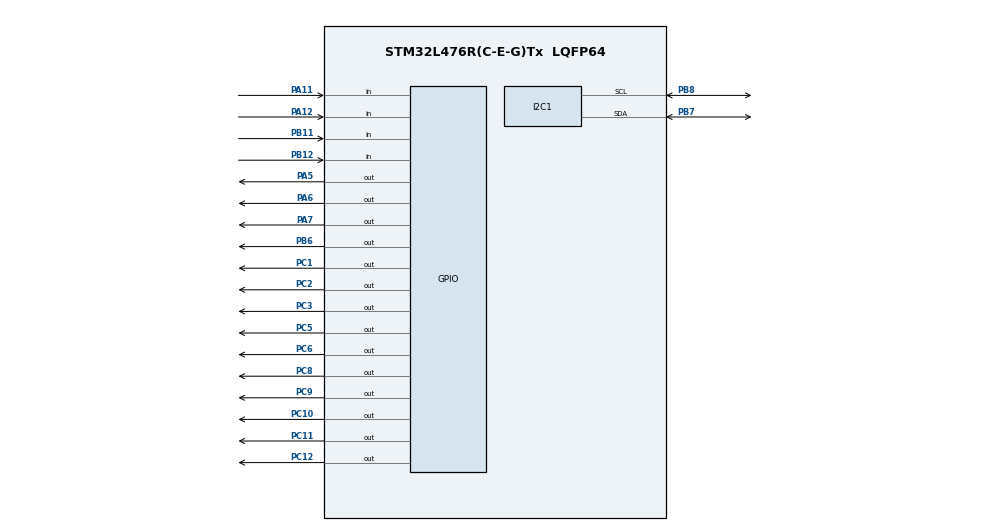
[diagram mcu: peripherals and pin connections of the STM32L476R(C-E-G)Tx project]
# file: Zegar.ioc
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I2C1.Timing=0x00100D14
Mcu.Family=STM32L4
Mcu.Name=STM32L476R(C-E-G)Tx
Mcu.Package=LQFP64
NVIC.PriorityGroup=NVIC_PRIORITYGROUP_4
PA11.GPIO_PuPd=GPIO_PULLUP
PA11.Signal=GPIO_Input
PA12.GPIO_PuPd=GPIO_PULLUP
PA12.Signal=GPIO_Input
PA13\ (JTMS-SWDIO).Mode=Serial_Wire
PA13\ (JTMS-SWDIO).Signal=SYS_JTMS-SWDIO
PA14\ (JTCK-SWCLK).Mode=Serial_Wire
PA14\ (JTCK-SWCLK).Signal=SYS_JTCK-SWCLK
PA5.PinState=GPIO_PIN_SET
PA5.Signal=GPIO_Output
PA6.PinState=GPIO_PIN_SET
PA6.Signal=GPIO_Output
PA7.PinState=GPIO_PIN_SET
PA7.Signal=GPIO_Output
PB11.GPIO_PuPd=GPIO_PULLUP
PB11.Signal=GPIO_Input
PB12.GPIO_PuPd=GPIO_PULLUP
PB12.Signal=GPIO_Input
PB6.PinState=GPIO_PIN_SET
PB6.Signal=GPIO_Output
PB7.Mode=I2C
PB7.Signal=I2C1_SDA
PB8.Mode=I2C
PB8.Signal=I2C1_SCL
PC1.PinState=GPIO_PIN_SET
PC1.Signal=GPIO_Output
PC10.PinState=GPIO_PIN_SET
PC10.Signal=GPIO_Output
PC11.PinState=GPIO_PIN_SET
PC11.Signal=GPIO_Output
PC12.PinState=GPIO_PIN_SET
PC12.Signal=GPIO_Output
PC2.PinState=GPIO_PIN_SET
PC2.Signal=GPIO_Output
PC3.PinState=GPIO_PIN_SET
PC3.Signal=GPIO_Output
PC5.PinState=GPIO_PIN_SET
PC5.Signal=GPIO_Output
PC6.PinState=GPIO_PIN_SET
PC6.Signal=GPIO_Output
PC8.PinState=GPIO_PIN_SET
PC8.Signal=GPIO_Output
PC9.PinState=GPIO_PIN_SET
PC9.Signal=GPIO_Output
ProjectManager.HeapSize=0x200
ProjectManager.StackSize=0x400
ProjectManager.TargetToolchain=STM32CubeIDE
RCC.HSE_VALUE=8000000
RCC.HSI_VALUE=16000000
RCC.LSE_VALUE=32768
RCC.MSI_VALUE=4000000
RCC.VCOOutputFreq_Value=32000000
RTC.Format=RTC_FORMAT_BIN
VP_RTC_VS_RTC_Activate.Mode=RTC_Enabled
VP_RTC_VS_RTC_Calendar.Mode=RTC_Calendar
board=custom

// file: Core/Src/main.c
/* USER CODE BEGIN Header */
/**
  ******************************************************************************
  * @file           : main.c
  * @brief          : Main program body
  ******************************************************************************
  * @attention
  *
  * Copyright (c) 2026 STMicroelectronics.
  * All rights reserved.
  *
  * This software is licensed under terms that can be found in the LICENSE file
  * in the root directory of this software component.
  * If no LICENSE file comes with this software, it is provided AS-IS.
  *
  ******************************************************************************
  */
/* USER CODE END Header */
#include "main.h"

/* USER CODE BEGIN Includes */
#include <stdio.h>    // standardowa biblioteka wejścia/wyjścia używana do formatowania ciągów tekstowych za pomocą funkcji snprintf
/* USER CODE END Includes */

I2C_HandleTypeDef hi2c1;

RTC_HandleTypeDef hrtc;

/* USER CODE BEGIN PV */
RTC_TimeTypeDef sTime = {0}; // struktura HAL przechowywująca atualną godzinę
RTC_DateTypeDef sDate = {0}; // struktura HAL przechowywująca aktualną datę

// zmienne przechowywujące bieżącą: godzinę, minutę oraz sekundę
int godziny = 0;
int minuty  = 0;
int sekundy = 0;

uint8_t stara_minuta = 99; // zmienna przechowywująca starną minutę
char bufor_lcd[32];        // tablica w której sprintf przechowuje foramt przzed wysłaniem

const char* dni_tygodnia[] = {"", "PONIEDZIALEK", "WTOREK", "SRODA", "CZWARTEK", "PIATEK", "SOBOTA", "NIEDZIELA"}; // tablica przechowująca dni tygodnia (pierwsze pole jest puste ze względu na sposób działania rtc gdzie poniedziałek to 1 a niedziela to 7)

// MASZYNA STANÓW I PRZYCISKI
typedef enum {          // definicje stanów zegara
    STAN_NORMALNY,       // zegar w stanie podstawowej pracy
    STAN_WYBORU_POLA,    // zegar w stanie wyboru pola edycji
    STAN_EDYCJI_WARTOSCI // zegar w stanie edytowania wartości
} StanZegara;

typedef enum { // definicje pól możliwych do edycji
    POLE_GODZINY,
    POLE_MINUTY,
    POLE_DZIEN,
    POLE_MIESIAC,
    POLE_ROK
} EdytowanePole;

StanZegara aktualny_stan = STAN_NORMALNY;   // zmienna pzrechowywująca aktualny stan zegara (zegar startuje w stanie zwykłym)
EdytowanePole aktualne_pole = POLE_GODZINY; // zmienna wskazująca na aktualizowane pole

// zmienne tymczasowe do przechowywania ustawień w trakcie edycji
int temp_godziny = 0;
int temp_minuty  = 0;
int temp_dzien   = 0;
int temp_miesiac = 0;
int temp_rok     = 0;

// flagi pomocnicze do wykrywania kliknięć (debouncing) 1=przycisk wciśnięty 0=przycisk zwolniony
uint8_t p1_wcisniety = 0;
uint8_t p2_wcisniety = 0;
uint8_t p3_wcisniety = 0;
uint8_t p4_wcisniety = 0;
/* USER CODE END PV */

void SystemClock_Config(void);
static void MX_GPIO_Init(void);
static void MX_I2C1_Init(void);
static void MX_RTC_Init(void);

/* USER CODE BEGIN 0 */

// FUNKCJE WYSWIETLACZA CYFR
void LED_Wyswietl_0(void) {
    HAL_GPIO_WritePin(GPIOC, GPIO_PIN_5 | GPIO_PIN_6 | GPIO_PIN_8 | GPIO_PIN_9, GPIO_PIN_RESET); // zaświecenie segmentów A, B, C, D
    HAL_GPIO_WritePin(GPIOA, GPIO_PIN_5 | GPIO_PIN_6, GPIO_PIN_RESET);                          // zaświecenie segmentów E, F
    HAL_GPIO_WritePin(GPIOA, GPIO_PIN_7, GPIO_PIN_SET);                                         // zgaszenie segmentu G
}

void LED_Wyswietl_1(void) {
    HAL_GPIO_WritePin(GPIOC, GPIO_PIN_5 | GPIO_PIN_9, GPIO_PIN_SET);             // zgaszenie segmentów A, D
    HAL_GPIO_WritePin(GPIOC, GPIO_PIN_6 | GPIO_PIN_8, GPIO_PIN_RESET);           // zaświecenie segmentów B, C
    HAL_GPIO_WritePin(GPIOA, GPIO_PIN_5 | GPIO_PIN_6 | GPIO_PIN_7, GPIO_PIN_SET); // zgaszenie segmentów E, F, G
}

void LED_Wyswietl_2(void) {
    HAL_GPIO_WritePin(GPIOC, GPIO_PIN_5 | GPIO_PIN_6 | GPIO_PIN_9, GPIO_PIN_RESET); // zaświecenie segmentów A, B, D
    HAL_GPIO_WritePin(GPIOC, GPIO_PIN_8, GPIO_PIN_SET);                             // zgaszenie segmentu C
    HAL_GPIO_WritePin(GPIOA, GPIO_PIN_5 | GPIO_PIN_7, GPIO_PIN_RESET);             // zaświecenie segmentów E, G
    HAL_GPIO_WritePin(GPIOA, GPIO_PIN_6, GPIO_PIN_SET);                             // zgaszenie segmentów F
}

void LED_Wyswietl_3(void) {
    HAL_GPIO_WritePin(GPIOC, GPIO_PIN_5 | GPIO_PIN_6 | GPIO_PIN_8 | GPIO_PIN_9, GPIO_PIN_RESET); // zaświecenie segmentów A, B, C, D
    HAL_GPIO_WritePin(GPIOA, GPIO_PIN_5 | GPIO_PIN_6, GPIO_PIN_SET);                             // zgaszenie segmentów E, F
    HAL_GPIO_WritePin(GPIOA, GPIO_PIN_7, GPIO_PIN_RESET);                                        // zaświecenie segmentu G
}

void LED_Wyswietl_4(void) {
    HAL_GPIO_WritePin(GPIOC, GPIO_PIN_5 | GPIO_PIN_9, GPIO_PIN_SET);             // zgaszenie segmentow A, D
    HAL_GPIO_WritePin(GPIOC, GPIO_PIN_6 | GPIO_PIN_8, GPIO_PIN_RESET);           // zaświecenie segmentów B, C
    HAL_GPIO_WritePin(GPIOA, GPIO_PIN_5, GPIO_PIN_SET);                         // zgaszenie segmentu E
    HAL_GPIO_WritePin(GPIOA, GPIO_PIN_6 | GPIO_PIN_7, GPIO_PIN_RESET);           // zaświecenie segmentów F, G
}

void LED_Wyswietl_5(void) {
    HAL_GPIO_WritePin(GPIOC, GPIO_PIN_5 | GPIO_PIN_8 | GPIO_PIN_9, GPIO_PIN_RESET); // zaświecenie segmentów A, C, D
    HAL_GPIO_WritePin(GPIOC, GPIO_PIN_6, GPIO_PIN_SET);                             // zgaszenie segmentu B
    HAL_GPIO_WritePin(GPIOA, GPIO_PIN_5, GPIO_PIN_SET);                             // zgaszenie segmentu E
    HAL_GPIO_WritePin(GPIOA, GPIO_PIN_6 | GPIO_PIN_7, GPIO_PIN_RESET);             // zaświecenie segmentów F, G
}

void LED_Wyswietl_6(void) {
    HAL_GPIO_WritePin(GPIOC, GPIO_PIN_5 | GPIO_PIN_8 | GPIO_PIN_9, GPIO_PIN_RESET); // zaświecenie segmentów A, C, D
    HAL_GPIO_WritePin(GPIOC, GPIO_PIN_6, GPIO_PIN_SET);                             // zgaszenie segmentu B
    HAL_GPIO_WritePin(GPIOA, GPIO_PIN_5 | GPIO_PIN_6 | GPIO_PIN_7, GPIO_PIN_RESET); // zaświecenie segmentów E, F, G
}

void LED_Wyswietl_7(void) {
    HAL_GPIO_WritePin(GPIOC, GPIO_PIN_5 | GPIO_PIN_6 | GPIO_PIN_8, GPIO_PIN_RESET); // zaświecenie segmentów A, B, C
    HAL_GPIO_WritePin(GPIOC, GPIO_PIN_9, GPIO_PIN_SET);                             // zgaszenie segmentu D
    HAL_GPIO_WritePin(GPIOA, GPIO_PIN_5 | GPIO_PIN_6 | GPIO_PIN_7, GPIO_PIN_SET); // zgaszenie segmentów E, F, G
}

void LED_Wyswietl_8(void) {
    HAL_GPIO_WritePin(GPIOC, GPIO_PIN_5 | GPIO_PIN_6 | GPIO_PIN_8 | GPIO_PIN_9, GPIO_PIN_RESET); // zaświecenie segmentów A, B, C, D
    HAL_GPIO_WritePin(GPIOA, GPIO_PIN_5 | GPIO_PIN_6 | GPIO_PIN_7, GPIO_PIN_RESET);             // zaświecenie segmentów E, F, G
}

void LED_Wyswietl_9(void) {
    HAL_GPIO_WritePin(GPIOC, GPIO_PIN_5 | GPIO_PIN_6 | GPIO_PIN_8 | GPIO_PIN_9, GPIO_PIN_RESET); // zaświecenie segmentów A, B, C, D
    HAL_GPIO_WritePin(GPIOA, GPIO_PIN_5, GPIO_PIN_SET);                                         // zgaszenie segmentu E
    HAL_GPIO_WritePin(GPIOA, GPIO_PIN_6 | GPIO_PIN_7, GPIO_PIN_RESET);                          // zaświecenie segmentów F, G
}

void LED_Wyswietl_Cyfre(int cyfra) { // funkcja switch do wyboru odpowiednij cyfry do wyświetlenia
    switch(cyfra) {
        case 0: LED_Wyswietl_0(); break;
        case 1: LED_Wyswietl_1(); break;
        case 2: LED_Wyswietl_2(); break;
        case 3: LED_Wyswietl_3(); break;
        case 4: LED_Wyswietl_4(); break;
        case 5: LED_Wyswietl_5(); break;
        case 6: LED_Wyswietl_6(); break;
        case 7: LED_Wyswietl_7(); break;
        case 8: LED_Wyswietl_8(); break;
        case 9: LED_Wyswietl_9(); break;
        default: break;
    }
}

// FUNKCJE OBSŁUGI WYŚWIETLACZA LCD
#define GROVE_LCD_ADDR (0x3E << 1) // definicja adresu sprzętowego LCD z przesunięciem o 1 bit

void grove_lcd_cmd(uint8_t cmd) { // wysłyłanie bajtu komendy startu do LCD
    uint8_t temp[2] = {0x80, cmd};
    HAL_I2C_Master_Transmit(&hi2c1, GROVE_LCD_ADDR, temp, 2, 100);
    HAL_Delay(1);
}

void grove_lcd_data(uint8_t data) { // wysłanie bajtu pojedynczego znaku tekstu do LCD
    uint8_t temp[2] = {0x40, data};
    HAL_I2C_Master_Transmit(&hi2c1, GROVE_LCD_ADDR, temp, 2, 100);
}

void grove_lcd_init(void) { // procedura inicjalizacjia LCD
    HAL_Delay(50);
    grove_lcd_cmd(0x38); // tryb 2 linii, czcionka 5x8
    HAL_Delay(5);
    grove_lcd_cmd(0x0C); // włącz wyświetlacz, ukryj kursor
    HAL_Delay(1);
    grove_lcd_cmd(0x01); // wyczyść ekran
    HAL_Delay(5);
    grove_lcd_cmd(0x06); // przesunięcie kursora w prawo
}

void grove_lcd_send_string(char *str) { // wysłanie całego ciągu tekstowego do LCD
    while (*str) {
        grove_lcd_data((uint8_t)*str++);
    }
}

void grove_lcd_put_cur(int row, int col) { // ustawienie kursora na zadany znak w LCD
    uint8_t val = (row == 0) ? (0x80 + col) : (0xC0 + col);
    grove_lcd_cmd(val);
}

uint8_t Oblicz_Dzien_Tygodnia(uint8_t d, uint8_t m, uint16_t y) { // algorytm Zallera do automatycznego wyznaczenia dnia tygodnia
    uint16_t pelny_rok = 2000 + y;
    static const uint8_t t[] = {0, 3, 2, 5, 0, 3, 5, 1, 4, 6, 2, 4};
    if (m < 3) {
        pelny_rok -= 1;
    }
    uint8_t wynik = (pelny_rok + pelny_rok/4 - pelny_rok/100 + pelny_rok/400 + t[m-1] + d) % 7;
    return (wynik == 0) ? 7 : wynik; // konwersja wyniku dla niedzieli z 0 na 7
}
/* USER CODE END 0 */

int main(void)
{

  /* MCU Configuration--------------------------------------------------------*/

  /* Reset of all peripherals, Initializes the Flash interface and the Systick. */
  HAL_Init();

  /* Configure the system clock */
  SystemClock_Config();

  /* Initialize all configured peripherals */
  MX_GPIO_Init();
  MX_I2C1_Init();
  MX_RTC_Init();
  /* USER CODE BEGIN 2 */
  HAL_Delay(100);    // opóźnienie po starcie
  grove_lcd_init();  // konfiguracja modułu wyświetlacza LCD

  // RESTART I WYMUSZENIE ZASILANIA DOMENY BACKUP
  __HAL_RCC_PWR_CLK_ENABLE(); // włączenie zegara kontrolera zasilania
  HAL_PWR_EnableBkUpAccess(); // odblokowanie dostępu do RTC i rejestrów backupu

  // Konfiguracja startowa zegara po resecie zasilania (00:00:00)
  sTime.Hours = 0;
  sTime.Minutes = 0;
  sTime.Seconds = 0;
  sTime.DayLightSaving = RTC_DAYLIGHTSAVING_NONE;  // automatyczna zmiana czasu letni/zimowy
  sTime.StoreOperation = RTC_STOREOPERATION_RESET; // reset operacji zapisu stanu

  if (HAL_RTC_SetTime(&hrtc, &sTime, RTC_FORMAT_BIN) != HAL_OK) { // sprzętowy zapis czasu do rejestrów RTC
      grove_lcd_put_cur(0, 0);
      grove_lcd_send_string("ERR: TIME WRITE");
      while(1);
  }

  // konfiguracja startu daty poniedziałek 1 stycznia 2000
  sDate.WeekDay = RTC_WEEKDAY_MONDAY;
  sDate.Date = 1;
  sDate.Month = RTC_MONTH_JANUARY;
  sDate.Year = 0;

  if (HAL_RTC_SetDate(&hrtc, &sDate, RTC_FORMAT_BIN) != HAL_OK) { // sprzętowy zapis daty do rejestrów RTC
      grove_lcd_put_cur(0, 0);
      grove_lcd_send_string("ERR: DATE WRITE");
      while(1);
  }
  /* USER CODE END 2 */

  /* Infinite loop */
  /* USER CODE BEGIN WHILE */
  while (1)
  {
	    // POBRANIE CZASU Z RTC
	    if (aktualny_stan == STAN_NORMALNY) { // odczyt tylko w stanie normalnym
	        // pobranie aktualnych wartości z RTC
	        HAL_RTC_GetTime(&hrtc, &sTime, RTC_FORMAT_BIN);
	        HAL_RTC_GetDate(&hrtc, &sDate, RTC_FORMAT_BIN);
	        // zapisanie pobranych wartości do zmiennych
	        godziny = sTime.Hours;
	        minuty  = sTime.Minutes;
	        sekundy = sTime.Seconds;
	    }

	    // NIEBLOKUJĄCA OBSŁUGA PRZYCISKÓW
	    // Przycisk 1 - MENU (Wejście / Ostateczne Wyjście i akceptacja zmian)
	    if (HAL_GPIO_ReadPin(GPIOB, GPIO_PIN_11) == GPIO_PIN_RESET && !p1_wcisniety) { // wykrycie wciśnięcia przycisku 1
	        HAL_Delay(10);
	        if (HAL_GPIO_ReadPin(GPIOB, GPIO_PIN_11) == GPIO_PIN_RESET) {
	            p1_wcisniety = 1; // flaga blokady przycisku
	            if (aktualny_stan == STAN_NORMALNY) { // wejście do menu głównego zegara
	                temp_godziny = godziny;
	                temp_minuty = minuty;
	                temp_dzien = sDate.Date;
	                temp_miesiac = sDate.Month;
	                temp_rok = sDate.Year;
	                aktualny_stan = STAN_WYBORU_POLA; // przełączenie w stan wyboru pozycji
	                aktualne_pole = POLE_GODZINY;     // ustawienie pierwszego pola na godziny
	            } else {
	                // OSTATECZNE WYJŚCIE Z MENU PO ZAKOŃCZENIU EDYCJI CAŁOŚCI
	                // czyszczenie linii LCD
	                grove_lcd_put_cur(0, 0);
	                grove_lcd_send_string("                ");
	                grove_lcd_put_cur(1, 0);
	                grove_lcd_send_string("                ");

	                aktualny_stan = STAN_NORMALNY; // powrót do stanu nromalnego
	                stara_minuta = 99;             // wymuszenie pełnego odświeżenia grafiki głównej
	            }
	        }
	    } else if (HAL_GPIO_ReadPin(GPIOB, GPIO_PIN_11) == GPIO_PIN_SET) {
	        p1_wcisniety = 0; // zerowanie flagi po zwolneniu przycisku
	    }

	    // Przycisk 2 W TYŁ / MINUS (-)
	    if (HAL_GPIO_ReadPin(GPIOA, GPIO_PIN_11) == GPIO_PIN_RESET && !p3_wcisniety) { // wykrycie wciśnięcia przycisku 2
	        HAL_Delay(10);
	        if (HAL_GPIO_ReadPin(GPIOA, GPIO_PIN_11) == GPIO_PIN_RESET) {
	            p3_wcisniety = 1;

	            if (aktualny_stan == STAN_WYBORU_POLA) { // nawigacja po menu w tył
	                if (aktualne_pole > POLE_GODZINY) aktualne_pole--;
	            }
	            else if (aktualny_stan == STAN_EDYCJI_WARTOSCI) { // dekrementacja wartości
	                if (aktualne_pole == POLE_GODZINY && temp_godziny > 0) temp_godziny--;
	                if (aktualne_pole == POLE_MINUTY  && temp_minuty > 0)  temp_minuty--;
	                if (aktualne_pole == POLE_DZIEN   && temp_dzien > 1)   temp_dzien--;
	                if (aktualne_pole == POLE_MIESIAC && temp_miesiac > 1) temp_miesiac--;
	                if (aktualne_pole == POLE_ROK     && temp_rok > 0)     temp_rok--;
	            }
	        }
	    } else if (HAL_GPIO_ReadPin(GPIOA, GPIO_PIN_11) == GPIO_PIN_SET) {
	        p3_wcisniety = 0;
	    }

	    // Przycisk 3 W PRZÓD / PLUS (+)
	    if (HAL_GPIO_ReadPin(GPIOB, GPIO_PIN_12) == GPIO_PIN_RESET && !p2_wcisniety) { // wykrycie wciśnięcia przycisku 3
	        HAL_Delay(10);
	        if (HAL_GPIO_ReadPin(GPIOB, GPIO_PIN_12) == GPIO_PIN_RESET) {
	            p2_wcisniety = 1;

	            if (aktualny_stan == STAN_WYBORU_POLA) { // nawigacja po menu w przód
	                if (aktualne_pole < POLE_ROK) aktualne_pole++;
	            }
	            else if (aktualny_stan == STAN_EDYCJI_WARTOSCI) { // inkrementacja wartości
	                if (aktualne_pole == POLE_GODZINY && temp_godziny < 23) temp_godziny++;
	                if (aktualne_pole == POLE_MINUTY  && temp_minuty < 59)  temp_minuty++;
	                if (aktualne_pole == POLE_DZIEN   && temp_dzien < 31)   temp_dzien++;
	                if (aktualne_pole == POLE_MIESIAC && temp_miesiac < 12) temp_miesiac++;
	                if (aktualne_pole == POLE_ROK     && temp_rok < 99)     temp_rok++;
	            }
	        }
	    } else if (HAL_GPIO_ReadPin(GPIOB, GPIO_PIN_12) == GPIO_PIN_SET) {
	        p2_wcisniety = 0;
	    }

	    // PRZYCISK 4 (ENTER) - ZATWIERDZENIE I ZAPIS
	    if (HAL_GPIO_ReadPin(GPIOA, GPIO_PIN_12) == GPIO_PIN_RESET && !p4_wcisniety) { // wykrycie wciśnięcia przycisku 4
	        HAL_Delay(20);
	        if (HAL_GPIO_ReadPin(GPIOA, GPIO_PIN_12) == GPIO_PIN_RESET) {
	            p4_wcisniety = 1;

	            if (aktualny_stan == STAN_WYBORU_POLA) { // przejście do wyboru pozycji
	                aktualny_stan = STAN_EDYCJI_WARTOSCI;
	            }
	            else if (aktualny_stan == STAN_EDYCJI_WARTOSCI) { // zatwierdzenie i zapis wartości do rejestrów RTC

	                // Przepisanie wprowadzonych modyfikacji do struktur HAL
	                sTime.Hours = temp_godziny;
	                sTime.Minutes = temp_minuty;
	                sTime.Seconds = 0; // zerowanie sekund przy zatwierdzeniu dowolnego elementu
	                sTime.SubSeconds = 0;
	                sTime.SecondFraction = 0;
	                sTime.DayLightSaving = RTC_DAYLIGHTSAVING_NONE;
	                sTime.StoreOperation = RTC_STOREOPERATION_RESET;

	                sDate.Date = temp_dzien;
	                sDate.Month = temp_miesiac;
	                sDate.Year = temp_rok;
	                sDate.WeekDay = Oblicz_Dzien_Tygodnia(temp_dzien, temp_miesiac, temp_rok); // automatyczne wyliczenie dnia tygodnia

	                // Fizyczny zapis do rejestrów RTC
	                HAL_PWR_EnableBkUpAccess();               // odblokowanie dostępu do zasialania backup
	                __HAL_RTC_WRITEPROTECTION_DISABLE(&hrtc); // wyłączenie ochory zapisu
	                // wpisanie nowej godziny i daty
	                HAL_RTC_SetTime(&hrtc, &sTime, RTC_FORMAT_BIN);
	                HAL_RTC_SetDate(&hrtc, &sDate, RTC_FORMAT_BIN);
	                __HAL_RTC_WRITEPROTECTION_ENABLE(&hrtc);  // włączenie ochory zapisu

	                // aktualizacja zmiennych roboczych
	                godziny = temp_godziny;
	                minuty = temp_minuty;
	                sekundy = 0;

	                // blokada pętli na czas fizycznego trzymania przycisku ENTER
	                while(HAL_GPIO_ReadPin(GPIOA, GPIO_PIN_12) == GPIO_PIN_RESET) {
	                    HAL_Delay(5);
	                }

	                aktualny_stan = STAN_WYBORU_POLA; // powrót do menu
	            }
	            stara_minuta = 99; // wymuszenie odświeżenia ekranu
	        }
	    } else if (HAL_GPIO_ReadPin(GPIOA, GPIO_PIN_12) == GPIO_PIN_SET) {
	        p4_wcisniety = 0;
	    }

	    // AKTUALIZACJA WYŚWIETLACZA GROVE LCD
	    if (aktualny_stan == STAN_NORMALNY) { // wyświetlenie ekranu głównego: dzień tygodnia i data
	        if (minuty != stara_minuta) {     // odświeżanie ekranu co minutę
	            stara_minuta = minuty;
	            grove_lcd_put_cur(0, 0);
	            grove_lcd_send_string("                ");
	            grove_lcd_put_cur(0, 0);
	            grove_lcd_send_string((char*)dni_tygodnia[sDate.WeekDay]); // wypisanie dnia tygodnia

	            grove_lcd_put_cur(1, 0);
	            snprintf(bufor_lcd, sizeof(bufor_lcd), "%02d | %02d | 20%02d", sDate.Date, sDate.Month, sDate.Year); // wypisanie daty
	            grove_lcd_send_string(bufor_lcd);
	        }
	    } else { // wyświetlenie ekranu interfejsu MENU
	        grove_lcd_put_cur(0, 0);
	        if (aktualny_stan == STAN_WYBORU_POLA) {
	            grove_lcd_send_string("WYBIERZ POLE:   ");
	        } else {
	            grove_lcd_send_string("EDYCJA WARTOSCI:");
	        }

	        grove_lcd_put_cur(1, 0);
	        snprintf(bufor_lcd, sizeof(bufor_lcd), "%02d:%02d  %02d|%02d|0%02d", temp_godziny, temp_minuty, temp_dzien, temp_miesiac, temp_rok); // format podglądu zmian
	        grove_lcd_send_string(bufor_lcd);
	    }

	    // MULTIPLEKSOWANIE WYŚWIETLACZY LED
	    // logika wyznaczania, które sekcje wyświetlacza mają świecić w danym stanie
	    uint8_t swiec_godziny = (aktualny_stan == STAN_NORMALNY) || (aktualny_stan == STAN_WYBORU_POLA && aktualne_pole == POLE_GODZINY) || (aktualny_stan == STAN_EDYCJI_WARTOSCI && aktualne_pole == POLE_GODZINY);
	    uint8_t swiec_minuty  = (aktualny_stan == STAN_NORMALNY) || (aktualny_stan == STAN_WYBORU_POLA && aktualne_pole == POLE_MINUTY)  || (aktualny_stan == STAN_EDYCJI_WARTOSCI && aktualne_pole == POLE_MINUTY);

	    uint8_t swiec_dzien   = (aktualny_stan == STAN_WYBORU_POLA && aktualne_pole == POLE_DZIEN)   || (aktualny_stan == STAN_EDYCJI_WARTOSCI && aktualne_pole == POLE_DZIEN);
	    uint8_t swiec_miesiac = (aktualny_stan == STAN_WYBORU_POLA && aktualne_pole == POLE_MIESIAC) || (aktualny_stan == STAN_EDYCJI_WARTOSCI && aktualne_pole == POLE_MIESIAC);
	    uint8_t swiec_rok     = (aktualny_stan == STAN_WYBORU_POLA && aktualne_pole == POLE_ROK)     || (aktualny_stan == STAN_EDYCJI_WARTOSCI && aktualne_pole == POLE_ROK);

	    // Pozycja 1: Dziesiątki Godzin / Dziesiątki Dnia
	    HAL_GPIO_WritePin(GPIOC, GPIO_PIN_3, GPIO_PIN_SET);    // zgaszenie poprzedniej pozycji
	    HAL_GPIO_WritePin(GPIOB, GPIO_PIN_6, GPIO_PIN_SET);    // zgaszenie kropki
	    if (aktualny_stan == STAN_NORMALNY && swiec_godziny) {
	        LED_Wyswietl_Cyfre(godziny / 10);
	        HAL_GPIO_WritePin(GPIOC, GPIO_PIN_10, GPIO_PIN_RESET);
	    } else if (aktualny_stan != STAN_NORMALNY && (swiec_godziny || swiec_dzien)) {
	        // w menu na pozycjach godzin wyświetlamy albo godziny, albo dzień
	        LED_Wyswietl_Cyfre((aktualne_pole == POLE_GODZINY) ? (temp_godziny / 10) : (temp_dzien / 10));
	        HAL_GPIO_WritePin(GPIOC, GPIO_PIN_10, GPIO_PIN_RESET);
	    }
	    HAL_Delay(2);

	    // Pozycja 2: Jedności Godzin / Jedności Dnia
	    HAL_GPIO_WritePin(GPIOC, GPIO_PIN_10, GPIO_PIN_SET);   // zgaszenie pozycji 1
	    if (aktualny_stan == STAN_NORMALNY) HAL_GPIO_WritePin(GPIOB, GPIO_PIN_6, GPIO_PIN_RESET); // kropka tylko w trybie zegara
	    if (aktualny_stan == STAN_NORMALNY && swiec_godziny) {
	        LED_Wyswietl_Cyfre(godziny % 10);
	        HAL_GPIO_WritePin(GPIOC, GPIO_PIN_11, GPIO_PIN_RESET);
	    } else if (aktualny_stan != STAN_NORMALNY && (swiec_godziny || swiec_dzien)) {
	        LED_Wyswietl_Cyfre((aktualne_pole == POLE_GODZINY) ? (temp_godziny % 10) : (temp_dzien % 10));
	        HAL_GPIO_WritePin(GPIOC, GPIO_PIN_11, GPIO_PIN_RESET);
	    }
	    HAL_Delay(2);

	    // Pozycja 3: Dziesiątki Minut / Dziesiątki Miesiąca
	    HAL_GPIO_WritePin(GPIOC, GPIO_PIN_11, GPIO_PIN_SET);   // zgaszenie pozycji 2
	    HAL_GPIO_WritePin(GPIOB, GPIO_PIN_6, GPIO_PIN_SET);    // zgaszenie kropki
	    if (aktualny_stan == STAN_NORMALNY && swiec_minuty) {
	        LED_Wyswietl_Cyfre(minuty / 10);
	        HAL_GPIO_WritePin(GPIOC, GPIO_PIN_12, GPIO_PIN_RESET);
	    } else if (aktualny_stan != STAN_NORMALNY && (swiec_minuty || swiec_miesiac)) {
	        LED_Wyswietl_Cyfre((aktualne_pole == POLE_MINUTY) ? (temp_minuty / 10) : (temp_miesiac / 10));
	        HAL_GPIO_WritePin(GPIOC, GPIO_PIN_12, GPIO_PIN_RESET);
	    }
	    HAL_Delay(2);

	    // Pozycja 4: Jedności Minut / Jedności Miesiąca
	    HAL_GPIO_WritePin(GPIOC, GPIO_PIN_12, GPIO_PIN_SET);   // zgaszenie pozycji 3
	    if (aktualny_stan == STAN_NORMALNY) HAL_GPIO_WritePin(GPIOB, GPIO_PIN_6, GPIO_PIN_RESET); // kropka tylko w trybie zegara
	    if (aktualny_stan == STAN_NORMALNY && swiec_minuty) {
	        LED_Wyswietl_Cyfre(minuty % 10);
	        HAL_GPIO_WritePin(GPIOC, GPIO_PIN_1, GPIO_PIN_RESET);
	    } else if (aktualny_stan != STAN_NORMALNY && (swiec_minuty || swiec_miesiac)) {
	        LED_Wyswietl_Cyfre((aktualne_pole == POLE_MINUTY) ? (temp_minuty % 10) : (temp_miesiac % 10));
	        HAL_GPIO_WritePin(GPIOC, GPIO_PIN_1, GPIO_PIN_RESET);
	    }
	    HAL_Delay(2);

	    // Pozycja 5: Dziesiątki Sekund / Dziesiątki Roku
	    HAL_GPIO_WritePin(GPIOC, GPIO_PIN_1, GPIO_PIN_SET);    // zgaszenie pozycji 4
	    HAL_GPIO_WritePin(GPIOB, GPIO_PIN_6, GPIO_PIN_SET);    // zgaszenie kropki
	    if (aktualny_stan == STAN_NORMALNY) {
	        LED_Wyswietl_Cyfre(sekundy / 10);
	        HAL_GPIO_WritePin(GPIOC, GPIO_PIN_2, GPIO_PIN_RESET);
	    } else if (aktualny_stan != STAN_NORMALNY && swiec_rok) {
	        LED_Wyswietl_Cyfre(temp_rok / 10);
	        HAL_GPIO_WritePin(GPIOC, GPIO_PIN_2, GPIO_PIN_RESET);
	    }
	    HAL_Delay(2);

	    // Pozycja 6: Jedności Sekund / Jedności Roku
	    HAL_GPIO_WritePin(GPIOC, GPIO_PIN_2, GPIO_PIN_SET);    // zgaszenie pozycji 5
	    if (aktualny_stan == STAN_NORMALNY) {
	        LED_Wyswietl_Cyfre(sekundy % 10);
	        HAL_GPIO_WritePin(GPIOC, GPIO_PIN_3, GPIO_PIN_RESET);
	    } else if (aktualny_stan != STAN_NORMALNY && swiec_rok) {
	        LED_Wyswietl_Cyfre(temp_rok % 10);
	        HAL_GPIO_WritePin(GPIOC, GPIO_PIN_3, GPIO_PIN_RESET);
	    }
	    HAL_Delay(2);
    /* USER CODE END WHILE */

  }
}

void SystemClock_Config(void)
{
  RCC_OscInitTypeDef RCC_OscInitStruct = {0};
  RCC_ClkInitTypeDef RCC_ClkInitStruct = {0};

  /** Configure the main internal regulator output voltage
  */
  if (HAL_PWREx_ControlVoltageScaling(PWR_REGULATOR_VOLTAGE_SCALE1) != HAL_OK)
  {
    Error_Handler();
  }

  /** Initializes the RCC Oscillators according to the specified parameters
  * in the RCC_OscInitTypeDef structure.
  */
  RCC_OscInitStruct.OscillatorType = RCC_OSCILLATORTYPE_LSI|RCC_OSCILLATORTYPE_MSI;
  RCC_OscInitStruct.LSIState = RCC_LSI_ON;
  RCC_OscInitStruct.MSIState = RCC_MSI_ON;
  RCC_OscInitStruct.MSICalibrationValue = 0;
  RCC_OscInitStruct.MSIClockRange = RCC_MSIRANGE_6;
  RCC_OscInitStruct.PLL.PLLState = RCC_PLL_NONE;
  if (HAL_RCC_OscConfig(&RCC_OscInitStruct) != HAL_OK)
  {
    Error_Handler();
  }

  /** Initializes the CPU, AHB and APB buses clocks
  */
  RCC_ClkInitStruct.ClockType = RCC_CLOCKTYPE_HCLK|RCC_CLOCKTYPE_SYSCLK
                              |RCC_CLOCKTYPE_PCLK1|RCC_CLOCKTYPE_PCLK2;
  RCC_ClkInitStruct.SYSCLKSource = RCC_SYSCLKSOURCE_MSI;
  RCC_ClkInitStruct.AHBCLKDivider = RCC_SYSCLK_DIV1;
  RCC_ClkInitStruct.APB1CLKDivider = RCC_HCLK_DIV1;
  RCC_ClkInitStruct.APB2CLKDivider = RCC_HCLK_DIV1;

  if (HAL_RCC_ClockConfig(&RCC_ClkInitStruct, FLASH_LATENCY_0) != HAL_OK)
  {
    Error_Handler();
  }
}

static void MX_I2C1_Init(void)
{

  hi2c1.Instance = I2C1;
  hi2c1.Init.Timing = 0x00100D14;
  hi2c1.Init.OwnAddress1 = 0;
  hi2c1.Init.AddressingMode = I2C_ADDRESSINGMODE_7BIT;
  hi2c1.Init.DualAddressMode = I2C_DUALADDRESS_DISABLE;
  hi2c1.Init.OwnAddress2 = 0;
  hi2c1.Init.OwnAddress2Masks = I2C_OA2_NOMASK;
  hi2c1.Init.GeneralCallMode = I2C_GENERALCALL_DISABLE;
  hi2c1.Init.NoStretchMode = I2C_NOSTRETCH_DISABLE;
  if (HAL_I2C_Init(&hi2c1) != HAL_OK)
  {
    Error_Handler();
  }

  /** Configure Analogue filter
  */
  if (HAL_I2CEx_ConfigAnalogFilter(&hi2c1, I2C_ANALOGFILTER_ENABLE) != HAL_OK)
  {
    Error_Handler();
  }

  /** Configure Digital filter
  */
  if (HAL_I2CEx_ConfigDigitalFilter(&hi2c1, 0) != HAL_OK)
  {
    Error_Handler();
  }

}

static void MX_RTC_Init(void)
{

  RTC_TimeTypeDef sTime = {0};
  RTC_DateTypeDef sDate = {0};

  /** Initialize RTC Only
  */
  hrtc.Instance = RTC;
  hrtc.Init.HourFormat = RTC_HOURFORMAT_24;
  hrtc.Init.AsynchPrediv = 127;
  hrtc.Init.SynchPrediv = 255;
  hrtc.Init.OutPut = RTC_OUTPUT_DISABLE;
  hrtc.Init.OutPutRemap = RTC_OUTPUT_REMAP_NONE;
  hrtc.Init.OutPutPolarity = RTC_OUTPUT_POLARITY_HIGH;
  hrtc.Init.OutPutType = RTC_OUTPUT_TYPE_OPENDRAIN;
  if (HAL_RTC_Init(&hrtc) != HAL_OK)
  {
    Error_Handler();
  }

  /** Initialize RTC and set the Time and Date
  */
  sTime.Hours = 0;
  sTime.Minutes = 0;
  sTime.Seconds = 0;
  sTime.DayLightSaving = RTC_DAYLIGHTSAVING_NONE;
  sTime.StoreOperation = RTC_STOREOPERATION_RESET;
  if (HAL_RTC_SetTime(&hrtc, &sTime, RTC_FORMAT_BIN) != HAL_OK)
  {
    Error_Handler();
  }
  sDate.WeekDay = RTC_WEEKDAY_MONDAY;
  sDate.Month = RTC_MONTH_JANUARY;
  sDate.Date = 1;
  sDate.Year = 0;

  if (HAL_RTC_SetDate(&hrtc, &sDate, RTC_FORMAT_BIN) != HAL_OK)
  {
    Error_Handler();
  }

}

static void MX_GPIO_Init(void)
{
  GPIO_InitTypeDef GPIO_InitStruct = {0};

  /* GPIO Ports Clock Enable */
  __HAL_RCC_GPIOC_CLK_ENABLE();
  __HAL_RCC_GPIOA_CLK_ENABLE();
  __HAL_RCC_GPIOB_CLK_ENABLE();

  /*Configure GPIO pin Output Level */
  HAL_GPIO_WritePin(GPIOC, GPIO_PIN_1|GPIO_PIN_2|GPIO_PIN_3|GPIO_PIN_5
                          |GPIO_PIN_6|GPIO_PIN_8|GPIO_PIN_9|GPIO_PIN_10
                          |GPIO_PIN_11|GPIO_PIN_12, GPIO_PIN_SET);

  /*Configure GPIO pin Output Level */
  HAL_GPIO_WritePin(GPIOA, GPIO_PIN_5|GPIO_PIN_6|GPIO_PIN_7, GPIO_PIN_SET);

  /*Configure GPIO pin Output Level */
  HAL_GPIO_WritePin(GPIOB, GPIO_PIN_6, GPIO_PIN_SET);

  /*Configure GPIO pins : PC1 PC2 PC3 PC5
                           PC6 PC8 PC9 PC10
                           PC11 PC12 */
  GPIO_InitStruct.Pin = GPIO_PIN_1|GPIO_PIN_2|GPIO_PIN_3|GPIO_PIN_5
                          |GPIO_PIN_6|GPIO_PIN_8|GPIO_PIN_9|GPIO_PIN_10
                          |GPIO_PIN_11|GPIO_PIN_12;
  GPIO_InitStruct.Mode = GPIO_MODE_OUTPUT_PP;
  GPIO_InitStruct.Pull = GPIO_NOPULL;
  GPIO_InitStruct.Speed = GPIO_SPEED_FREQ_LOW;
  HAL_GPIO_Init(GPIOC, &GPIO_InitStruct);

  /*Configure GPIO pins : PA5 PA6 PA7 */
  GPIO_InitStruct.Pin = GPIO_PIN_5|GPIO_PIN_6|GPIO_PIN_7;
  GPIO_InitStruct.Mode = GPIO_MODE_OUTPUT_PP;
  GPIO_InitStruct.Pull = GPIO_NOPULL;
  GPIO_InitStruct.Speed = GPIO_SPEED_FREQ_LOW;
  HAL_GPIO_Init(GPIOA, &GPIO_InitStruct);

  /*Configure GPIO pins : PB11 PB12 */
  GPIO_InitStruct.Pin = GPIO_PIN_11|GPIO_PIN_12;
  GPIO_InitStruct.Mode = GPIO_MODE_INPUT;
  GPIO_InitStruct.Pull = GPIO_PULLUP;
  HAL_GPIO_Init(GPIOB, &GPIO_InitStruct);

  /*Configure GPIO pins : PA11 PA12 */
  GPIO_InitStruct.Pin = GPIO_PIN_11|GPIO_PIN_12;
  GPIO_InitStruct.Mode = GPIO_MODE_INPUT;
  GPIO_InitStruct.Pull = GPIO_PULLUP;
  HAL_GPIO_Init(GPIOA, &GPIO_InitStruct);

  /*Configure GPIO pin : PB6 */
  GPIO_InitStruct.Pin = GPIO_PIN_6;
  GPIO_InitStruct.Mode = GPIO_MODE_OUTPUT_PP;
  GPIO_InitStruct.Pull = GPIO_NOPULL;
  GPIO_InitStruct.Speed = GPIO_SPEED_FREQ_LOW;
  HAL_GPIO_Init(GPIOB, &GPIO_InitStruct);

}

void Error_Handler(void)
{
  __disable_irq();
  while (1)
  {
  }
}
